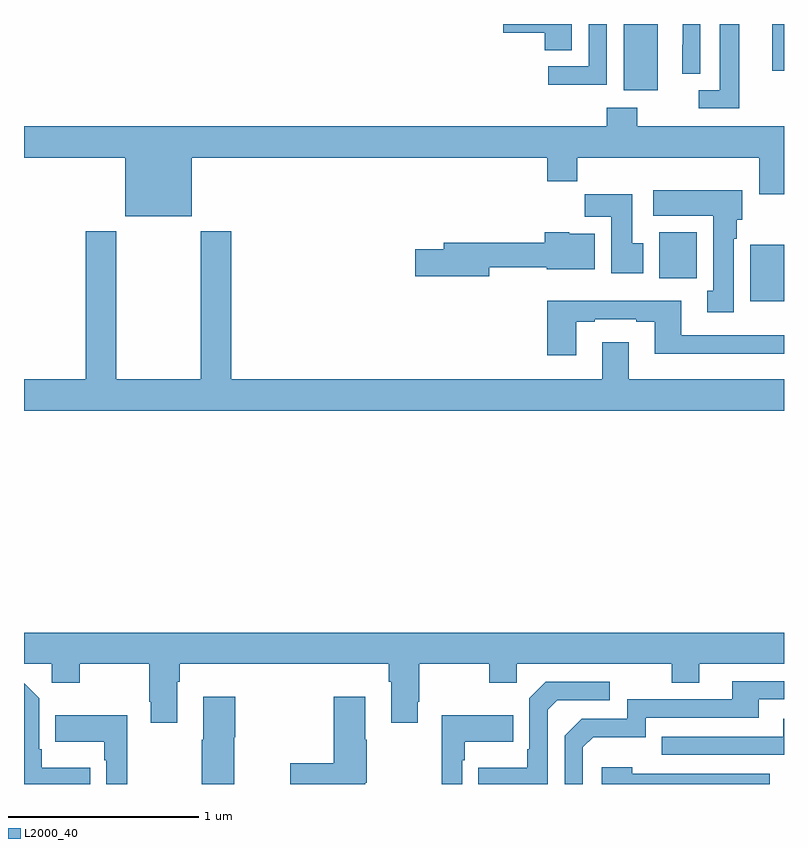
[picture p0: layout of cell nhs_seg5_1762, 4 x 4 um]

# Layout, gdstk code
import gdstk
lib = gdstk.Library(unit=1e-6, precision=1e-09)
def R(c, l, rs):  # rectangles x0, y0, x1, y1
    for r in rs: c.add(gdstk.rectangle(r[:2], r[2:], *l))
def P(c, l, *ps):  # polygons
    for p in ps: c.add(gdstk.Polygon(p, *l))
L2000_40 = (2000, 40)

nhs_seg5_1762 = lib.new_cell('nhs_seg5_1762')
R(nhs_seg5_1762, L2000_40, [(220.823,853.34,221,853.636), (220.343,853.46,220.54,853.702), (220.157,854.45,220.336,854.799), (220.937,854.553,221,854.799)])
P(nhs_seg5_1762, L2000_40, [(220.56,854.799),(220.466,854.799),(220.466,854.69),(220.464,854.69),(220.464,854.536),(220.56,854.536)],
  [(220.765,854.799),(220.661,854.799),(220.661,854.451),(220.551,854.451),(220.551,854.355),(220.765,854.355)],
  [(219.883,854.799),(219.522,854.799),(219.522,854.753),(219.74,854.753),(219.74,854.662),(219.883,854.662)],
  [(220.068,854.799),(219.972,854.799),(219.972,854.577),(219.759,854.577),(219.759,854.479),(220.068,854.479)],
  [(217.882,854.096),(219.755,854.096),(219.755,853.972),(219.911,853.972),(219.911,854.096),(220.871,854.096),(220.871,853.902),(221,853.902),(221,854.26),(220.227,854.26),(220.227,854.359),(220.067,854.359),(220.067,854.26),(217,854.26),(217,854.096),(217.532,854.096),(217.532,853.787),(217.882,853.787)],
  [(220.735,853.67),(220.75,853.67),(220.75,853.77),(220.78,853.77),(220.78,853.924),(220.311,853.924),(220.311,853.79),(220.628,853.79),(220.628,853.394),(220.595,853.394),(220.595,853.281),(220.735,853.281)],
  [(220.258,853.644),(220.201,853.644),(220.201,853.903),(219.952,853.903),(219.952,853.784),(220.091,853.784),(220.091,853.488),(220.258,853.488)],
  [(221,852.928),(220.183,852.928),(220.183,853.123),(220.043,853.123),(220.043,852.928),(218.09,852.928),(218.09,853.708),(217.93,853.708),(217.93,852.928),(217.485,852.928),(217.485,853.708),(217.325,853.708),(217.325,852.928),(217,852.928),(217,852.764),(221,852.764)],
  [(219.448,853.519),(219.752,853.519),(219.752,853.508),(220.003,853.508),(220.003,853.696),(219.87,853.696),(219.87,853.702),(219.74,853.702),(219.74,853.648),(219.209,853.648),(219.209,853.614),(219.06,853.614),(219.06,853.472),(219.448,853.472)],
  [(219.907,853.233),(220.003,853.233),(220.003,853.245),(220.223,853.245),(220.223,853.233),(220.319,853.233),(220.319,853.064),(221,853.064),(221,853.161),(220.459,853.161),(220.459,853.342),(219.755,853.342),(219.755,853.056),(219.907,853.056)],
  [(217,851.432),(217.146,851.432),(217.146,851.333),(217.293,851.333),(217.293,851.432),(217.66,851.432),(217.66,851.233),(217.667,851.233),(217.667,851.121),(217.807,851.121),(217.807,851.336),(217.82,851.336),(217.82,851.432),(218.921,851.432),(218.921,851.336),(218.933,851.336),(218.933,851.121),(219.073,851.121),(219.073,851.233),(219.081,851.233),(219.081,851.432),(219.448,851.432),(219.448,851.333),(219.594,851.333),(219.594,851.432),(220.408,851.432),(220.408,851.333),(220.555,851.333),(220.555,851.432),(221,851.432),(221,851.596),(217,851.596)],
  [(219.942,850.992),(219.995,851.045),(220.272,851.045),(220.272,851.148),(220.867,851.148),(220.867,851.244),(221,851.244),(221,851.34),(220.727,851.34),(220.727,851.244),(220.176,851.244),(220.176,851.142),(219.936,851.142),(219.846,851.052),(219.846,850.799),(219.942,850.799)],
  [(219.756,851.19),(219.807,851.241),(220.084,851.241),(220.084,851.337),(219.747,851.337),(219.66,851.25),(219.66,850.981),(219.648,850.981),(219.648,850.885),(219.391,850.885),(219.391,850.799),(219.756,850.799)],
  [(217.349,850.885),(217.093,850.885),(217.093,850.981),(217.08,850.981),(217.08,851.25),(217,851.33),(217,850.799),(217.349,850.799)],
  [(218.797,850.805),(218.805,850.805),(218.805,851.033),(218.797,851.033),(218.797,851.257),(218.63,851.257),(218.63,850.909),(218.402,850.909),(218.402,850.799),(218.797,850.799)],
  [(218.106,851.044),(218.111,851.044),(218.111,851.257),(217.943,851.257),(217.943,851.033),(217.936,851.033),(217.936,850.799),(218.106,850.799)],
  [(217.543,851.161),(217.165,851.161),(217.165,851.021),(217.422,851.021),(217.422,850.925),(217.434,850.925),(217.434,850.799),(217.543,850.799)],
  [(219.306,850.925),(219.319,850.925),(219.319,851.021),(219.575,851.021),(219.575,851.161),(219.198,851.161),(219.198,850.799),(219.306,850.799)],
  [(221,851.143),(220.997,851.143),(220.997,851.049),(220.357,851.049),(220.357,850.953),(221,850.953)],
  [(220.926,850.854),(220.202,850.854),(220.202,850.888),(220.041,850.888),(220.041,850.799),(220.926,850.799)])

lib.write_gds('nhs_seg5_1762.gds')
